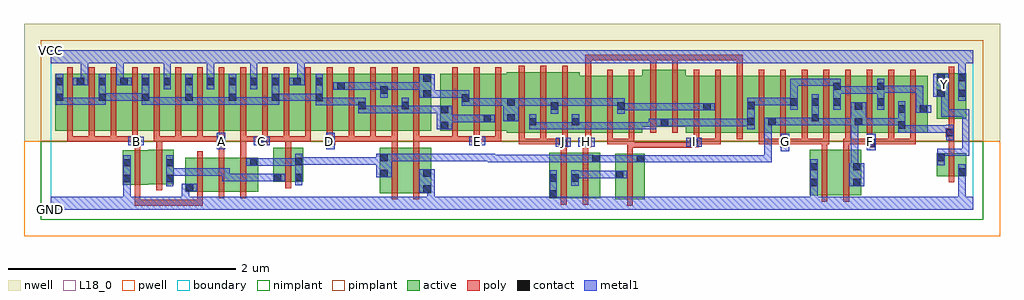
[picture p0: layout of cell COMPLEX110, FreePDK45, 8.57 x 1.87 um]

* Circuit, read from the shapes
.subckt COMPLEX110 A B C D E F G GND H I J VCC Y
M1 n1 B GND VSUBS nfet w=0.3u l=0.05u
M2 n2 A n1 VSUBS nfet w=0.3u l=0.05u
M3 n3 B GND VSUBS nfet w=0.3u l=0.05u
M4 n4 A n3 VSUBS nfet w=0.3u l=0.05u
M5 n5 C n4 VSUBS nfet w=0.3u l=0.05u
M6 n5 C n2 VSUBS nfet w=0.3u l=0.05u
M7 n6 D n5 VSUBS nfet w=0.4u l=0.05u
M8 GND E n6 VSUBS nfet w=0.4u l=0.05u
M9 n7 J GND VSUBS nfet w=0.4u l=0.05u
M10 n5 H n7 VSUBS nfet w=0.4u l=0.05u
M11 n5 I n7 VSUBS nfet w=0.4u l=0.05u
M12 n8 G GND VSUBS nfet w=0.4u l=0.05u
M13 n5 F n8 VSUBS nfet w=0.4u l=0.05u
M14 GND n5 Y VSUBS nfet w=0.2u l=0.05u
M15 VCC B n9 n10 pfet w=0.5u l=0.05u m=4
M16 VCC A n9 n10 pfet w=0.5u l=0.05u m=4
M17 VCC C n9 n10 pfet w=0.5u l=0.05u m=4
M18 n11 D n9 n10 pfet w=0.5u l=0.05u m=4
M19 n11 E n9 n10 pfet w=0.5u l=0.05u m=4
M20 n12 J n11 n10 pfet w=0.532u l=0.05u m=3
M21 n13 H n12 n10 pfet w=0.5u l=0.05u
M22 n11 I n13 n10 pfet w=0.5u l=0.05u
M23 n14 I n11 n10 pfet w=0.5u l=0.05u
M24 n12 H n14 n10 pfet w=0.5u l=0.05u
M25 n15 H n12 n10 pfet w=0.5u l=0.05u
M26 n11 I n15 n10 pfet w=0.5u l=0.05u
M27 n16 I n11 n10 pfet w=0.5u l=0.05u
M28 n12 H n16 n10 pfet w=0.5u l=0.05u
M29 n5 G n12 n10 pfet w=0.5u l=0.05u m=4
M30 n5 F n12 n10 pfet w=0.5u l=0.05u m=4
M31 VCC n5 Y n10 pfet w=0.4u l=0.05u
.ends

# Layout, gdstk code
import gdstk
lib = gdstk.Library(unit=1e-6, precision=1e-09)
def R(c, l, rs):  # rectangles x0, y0, x1, y1
    for r in rs: c.add(gdstk.rectangle(r[:2], r[2:], *l))
def A(c, l, x, y, w, h, nx, ny, dx, dy):  # array of equal rectangles
    R(c, l, [(x+i*dx, y+j*dy, x+i*dx+w, y+j*dy+h) for i in range(nx) for j in range(ny)])
active = (1, 0)
pwell = (2, 0)
nwell = (3, 0)
nimplant = (4, 0)
pimplant = (5, 0)
poly = (9, 0)
contact = (10, 0)
metal1 = (11, 0)
L18_0 = (18, 0)
boundary = (235, 0)

complex110 = lib.new_cell('COMPLEX110')
A(complex110, active, 6.295, 0.675, 0.075, 0.395, 4, 1, 0.38, 0)
A(complex110, active, 0.225, 0.695, 0.265, 0.5, 6, 1, 0.19, 0)
A(complex110, active, 0.795, 0.807, 0.075, 0.36, 4, 1, 0.19, 0)
R(complex110, active, [(4.957,0.092,5.217,0.492), (4.375,0.1,4.45,0.5), (4.375,0.1,4.64,0.5), (4.565,0.1,4.825,0.5), (6.665,0.125,6.89,0.525), (6.665,0.125,6.74,0.525), (6.89,0.125,7.115,0.525), (2.89,0.145,3.115,0.545), (3.115,0.145,3.34,0.545), (3.265,0.145,3.34,0.545), (2.89,0.147,2.995,0.545), (4.565,0.147,4.64,0.492), (4.75,0.147,4.825,0.5), (4.957,0.147,5.032,0.492), (5.142,0.147,5.217,0.492), (7.04,0.147,7.115,0.525), (1.18,0.157,1.255,0.457), (1.18,0.157,1.405,0.457), (1.405,0.157,1.595,0.457), (1.595,0.157,1.82,0.457), (0.632,0.22,0.707,0.52), (0.632,0.22,0.857,0.52), (0.857,0.225,1.082,0.525), (1.007,0.225,1.082,0.525), (1.955,0.245,2.03,0.545), (1.955,0.245,2.215,0.545), (2.14,0.245,2.215,0.545), (1.745,0.247,1.82,0.457), (7.78,0.295,8.04,0.495), (7.965,0.295,8.04,0.495), (7.78,0.347,7.855,0.495), (4.005,0.675,4.27,1.207), (4.195,0.675,4.46,1.207), (4.385,0.675,4.645,1.207), (4.57,0.675,4.645,1.07), (4.57,0.675,4.815,1.175), (4.815,0.675,5.045,1.175), (4.97,0.675,5.195,1.175), (5.575,0.675,5.8,1.175), (5.725,0.675,5.8,1.157), (5.725,0.675,5.955,1.175), (5.955,0.675,6.185,1.175), (6.11,0.675,6.37,1.175), (6.295,0.675,6.565,1.175), (6.49,0.675,6.565,1.157), (6.49,0.675,6.75,1.175), (6.675,0.675,6.94,1.175), (6.865,0.675,6.94,1.157), (6.865,0.675,7.13,1.175), (7.055,0.675,7.325,1.175), (7.25,0.675,7.325,1.157), (7.25,0.675,7.51,1.175), (7.435,0.675,7.7,1.175), (7.625,0.675,7.7,1.157), (4.97,0.682,5.045,1.157), (0.04,0.695,0.3,1.195), (0.04,0.695,0.115,1.165), (1.365,0.695,1.635,1.195), (1.56,0.695,1.82,1.195), (1.745,0.695,2.01,1.195), (1.935,0.695,2.2,1.195), (2.125,0.695,2.395,1.195), (2.32,0.695,2.585,1.195), (2.51,0.695,2.77,1.195), (2.695,0.695,2.965,1.195), (2.89,0.695,3.15,1.195), (3.075,0.695,3.34,1.195), (3.265,0.695,3.34,1.195), (3.42,0.695,3.68,1.195), (3.42,0.695,3.495,1.07), (3.605,0.695,3.87,1.195), (3.795,0.695,4.08,1.195), (1.745,0.722,1.82,1.165), (5.195,0.73,5.425,1.23), (5.35,0.73,5.575,1.23), (5.35,0.73,5.425,1.07), (4.195,0.735,4.27,1.07), (6.11,0.737,6.185,1.157), (0.605,0.747,0.68,1.167), (3.795,0.762,3.87,1.07), (4.005,0.77,4.08,1.157), (4.385,0.775,4.46,1.2), (7.78,0.8,7.855,1.2), (7.78,0.8,8.04,1.2), (7.965,0.8,8.04,1.2), (0.225,0.807,0.3,1.165), (0.415,0.807,0.49,1.165), (1.56,0.807,1.635,1.167), (1.935,0.807,2.01,1.165), (2.125,0.807,2.2,1.162), (2.32,0.807,2.395,1.162), (2.51,0.807,2.585,1.157), (2.695,0.807,2.77,1.07), (2.89,0.807,2.965,1.157), (3.075,0.807,3.15,1.07), (3.605,0.807,3.68,1.157)])
R(complex110, pwell, [(-0.235,-0.235,8.335,0.602)])
R(complex110, nwell, [(-0.235,0.602,8.335,1.635)])
R(complex110, nimplant, [(-0.09,-0.09,8.19,0.602)])
R(complex110, pimplant, [(-0.09,0.602,8.19,1.49)])
A(complex110, poly, 1.285, 0.102, 0.05, 0.41, 3, 1, 0.19, 0)
A(complex110, poly, 4.11, 0.575, 0.05, 0.095, 3, 1, 0.19, 0)
A(complex110, poly, 4.695, 0.575, 0.05, 0.095, 3, 1, 0.19, 0)
A(complex110, poly, 6.215, 0.575, 0.05, 0.095, 8, 1, 0.19, 0)
A(complex110, poly, 0.145, 0.595, 0.05, 0.095, 17, 1, 0.19, 0)
A(complex110, poly, 0.335, 0.595, 0.24, 0.05, 4, 1, 0.76, 0)
A(complex110, poly, 3.525, 0.595, 0.05, 0.095, 3, 1, 0.19, 0)
A(complex110, poly, 4.11, 0.62, 0.05, 0.642, 3, 1, 0.19, 0)
A(complex110, poly, 4.695, 0.62, 0.05, 0.61, 3, 1, 0.19, 0)
A(complex110, poly, 5.645, 0.62, 0.05, 0.61, 11, 1, 0.19, 0)
A(complex110, poly, 0.145, 0.64, 0.05, 0.61, 17, 1, 0.19, 0)
A(complex110, poly, 3.525, 0.64, 0.05, 0.61, 3, 1, 0.19, 0)
R(complex110, poly, [(0.737,0.037,0.787,0.087), (0.737,0.037,0.787,0.087), (0.737,0.037,0.787,0.087), (0.737,0.037,0.92,0.087), (0.737,0.037,0.787,0.215), (0.87,0.037,0.92,0.087), (0.87,0.037,0.92,0.087), (0.87,0.037,0.92,0.087), (0.87,0.037,1.202,0.087), (1.152,0.037,1.202,0.087), (1.152,0.037,1.202,0.087), (1.152,0.037,1.202,0.087), (1.152,0.037,1.335,0.087), (1.285,0.037,1.335,0.087), (1.285,0.037,1.335,0.152), (5.062,0.037,5.112,0.547), (4.48,0.045,4.53,0.555), (4.67,0.045,4.72,0.555), (6.77,0.07,6.82,0.58), (6.96,0.07,7.01,0.58), (2.995,0.09,3.045,0.6), (3.185,0.09,3.235,0.6), (0.737,0.165,0.787,0.575), (0.927,0.17,0.977,0.58), (2.06,0.19,2.11,0.6), (7.885,0.24,7.935,0.55), (1.475,0.462,1.525,0.62), (1.665,0.462,1.715,0.645), (5.062,0.497,5.112,0.592), (7.885,0.5,7.935,0.69), (4.48,0.505,4.53,0.6), (4.67,0.505,4.72,0.6), (0.737,0.525,0.787,0.62), (0.927,0.53,0.977,0.645), (6.77,0.53,6.82,0.625), (6.96,0.53,7.01,0.625), (5.062,0.542,5.125,0.625), (5.075,0.542,5.317,0.592), (5.267,0.542,5.317,0.592), (5.267,0.542,5.317,0.592), (5.267,0.542,5.317,0.592), (5.267,0.542,5.45,0.592), (5.4,0.542,5.45,0.592), (5.4,0.542,5.45,0.592), (5.4,0.542,5.45,0.592), (5.4,0.542,5.662,0.592), (5.612,0.542,5.662,0.6), (2.06,0.55,2.11,0.645), (2.995,0.55,3.045,0.645), (3.185,0.55,3.235,0.645), (4.462,0.55,4.54,0.625), (4.67,0.55,4.745,0.625), (5.612,0.55,5.662,0.6), (5.612,0.55,5.695,0.625), (6.405,0.55,6.48,0.625), (7.165,0.55,7.24,0.625), (0.712,0.57,0.787,0.645), (1.452,0.57,1.527,0.645), (1.82,0.57,1.905,0.645), (2.422,0.57,2.497,0.645), (3.695,0.57,3.78,0.645), (4.11,0.575,4.35,0.625), (4.11,0.575,4.16,0.625), (4.11,0.575,4.16,0.625), (4.11,0.575,4.16,0.625), (4.3,0.575,4.35,0.625), (4.3,0.575,4.35,0.625), (4.3,0.575,4.35,0.625), (4.3,0.575,4.512,0.625), (4.885,0.575,4.935,0.625), (4.885,0.575,5.112,0.625), (5.062,0.575,5.112,0.625), (5.062,0.575,5.112,0.625), (5.645,0.575,5.695,0.67), (5.645,0.575,5.885,0.625), (5.835,0.575,5.885,0.67), (5.835,0.575,5.885,0.625), (5.835,0.575,5.885,0.625), (5.835,0.575,5.885,0.625), (6.215,0.575,6.455,0.625), (6.215,0.575,6.265,0.625), (6.405,0.575,6.455,0.625), (6.405,0.575,6.455,0.625), (6.43,0.575,6.645,0.625), (6.595,0.575,6.645,0.625), (6.595,0.575,6.645,0.625), (6.595,0.575,6.645,0.625), (6.595,0.575,6.82,0.625), (6.77,0.575,6.82,0.625), (6.77,0.575,6.82,0.625), (6.77,0.575,6.835,0.625), (6.96,0.575,7.025,0.625), (6.975,0.575,7.215,0.625), (6.975,0.575,7.025,0.625), (6.975,0.575,7.025,0.625), (7.19,0.575,7.24,0.625), (7.19,0.575,7.24,0.625), (7.19,0.575,7.405,0.625), (7.355,0.575,7.595,0.625), (7.355,0.575,7.405,0.625), (7.355,0.575,7.405,0.625), (7.355,0.575,7.405,0.625), (7.545,0.575,7.595,0.625), (0.145,0.595,0.385,0.645), (0.145,0.595,0.195,0.645), (0.145,0.595,0.195,0.645), (0.145,0.595,0.195,0.645), (0.335,0.595,0.385,0.645), (0.335,0.595,0.385,0.645), (0.335,0.595,0.385,0.645), (0.525,0.595,0.575,0.645), (0.525,0.595,0.575,0.645), (0.525,0.595,0.575,0.645), (0.525,0.595,0.762,0.645), (0.905,0.595,0.977,0.645), (0.927,0.595,0.977,0.645), (0.927,0.595,0.977,0.645), (0.927,0.595,1.145,0.645), (1.095,0.595,1.145,0.645), (1.285,0.595,1.335,0.645), (1.285,0.595,1.335,0.645), (1.285,0.595,1.335,0.645), (1.285,0.595,1.502,0.645), (1.452,0.595,1.502,0.645), (1.452,0.595,1.502,0.645), (1.665,0.595,1.715,0.645), (1.665,0.595,1.715,0.645), (1.665,0.595,1.715,0.645), (1.665,0.595,1.87,0.645), (1.855,0.595,1.905,0.645), (1.855,0.595,1.905,0.645), (2.045,0.595,2.11,0.645), (2.06,0.595,2.11,0.645), (2.06,0.595,2.11,0.645), (2.06,0.595,2.285,0.645), (2.235,0.595,2.285,0.645), (2.447,0.595,2.665,0.645), (2.615,0.595,2.665,0.645), (2.615,0.595,2.665,0.645), (2.615,0.595,2.665,0.645), (2.805,0.595,3.045,0.645), (2.805,0.595,2.855,0.645), (2.805,0.595,2.855,0.645), (2.805,0.595,2.855,0.645), (2.995,0.595,3.045,0.645), (2.995,0.595,3.045,0.645), (2.995,0.595,3.045,0.645), (3.185,0.595,3.235,0.645), (3.185,0.595,3.235,0.645), (3.185,0.595,3.235,0.645), (3.185,0.595,3.575,0.645), (3.525,0.595,3.575,0.645), (3.525,0.595,3.575,0.645), (3.525,0.595,3.575,0.645), (3.525,0.595,3.745,0.645), (3.695,0.595,3.745,0.645), (3.695,0.595,3.745,0.645), (3.73,0.595,3.955,0.645), (3.905,0.595,3.955,0.645), (3.905,0.595,3.955,0.645), (3.905,0.595,3.955,0.645), (7.86,0.64,7.935,0.715), (7.885,0.665,7.935,0.795), (5.265,0.675,5.315,1.285), (5.455,0.675,5.505,1.285), (7.885,0.745,7.935,1.255), (4.695,1.18,4.745,1.362), (6.025,1.18,6.075,1.362), (5.265,1.235,5.315,1.362), (5.455,1.235,5.505,1.362), (4.695,1.312,4.745,1.362), (4.695,1.312,4.98,1.362), (4.93,1.312,4.98,1.362), (4.93,1.312,4.98,1.362), (4.93,1.312,4.98,1.362), (4.93,1.312,5.112,1.362), (5.062,1.312,5.112,1.362), (5.062,1.312,5.112,1.362), (5.062,1.312,5.112,1.362), (5.062,1.312,5.315,1.362), (5.265,1.312,5.315,1.362), (5.265,1.312,5.315,1.362), (5.265,1.312,5.315,1.362), (5.265,1.312,5.497,1.362), (5.447,1.312,5.497,1.362), (5.447,1.312,5.497,1.362), (5.447,1.312,5.505,1.362), (5.455,1.312,5.745,1.362), (5.695,1.312,5.745,1.362), (5.695,1.312,5.745,1.362), (5.695,1.312,5.745,1.362), (5.695,1.312,5.877,1.362), (5.827,1.312,5.877,1.362), (5.827,1.312,5.877,1.362), (5.827,1.312,5.877,1.362), (5.827,1.312,6.075,1.362), (6.025,1.312,6.075,1.362), (6.025,1.312,6.075,1.362), (6.025,1.312,6.075,1.362)])
A(complex110, contact, 0.42, 0.955, 0.065, 0.065, 3, 1, 0.38, 0)
A(complex110, contact, 0.23, 1.095, 0.065, 0.065, 7, 1, 0.19, 0)
R(complex110, contact, [(4.38,0.105,4.445,0.17), (3.27,0.15,3.335,0.215), (1.185,0.162,1.25,0.227), (6.67,0.205,6.735,0.27), (7.045,0.205,7.11,0.27), (0.637,0.24,0.702,0.305), (1.012,0.24,1.077,0.305), (4.38,0.245,4.445,0.31), (4.57,0.245,4.635,0.31), (1.96,0.25,2.025,0.315), (2.145,0.25,2.21,0.315), (4.962,0.277,5.027,0.342), (2.895,0.287,2.96,0.352), (3.27,0.29,3.335,0.355), (7.97,0.3,8.035,0.365), (6.67,0.345,6.735,0.41), (7.045,0.345,7.11,0.41), (0.637,0.38,0.702,0.445), (1.012,0.38,1.077,0.445), (1.75,0.387,1.815,0.452), (2.145,0.39,2.21,0.455), (4.755,0.415,4.82,0.48), (5.147,0.415,5.212,0.48), (7.785,0.425,7.85,0.49), (2.895,0.427,2.96,0.492), (4.467,0.555,4.532,0.62), (4.675,0.555,4.74,0.62), (5.617,0.555,5.682,0.62), (6.41,0.555,6.475,0.62), (7.17,0.555,7.235,0.62), (0.717,0.575,0.782,0.64), (1.457,0.575,1.522,0.64), (1.825,0.575,1.89,0.64), (2.427,0.575,2.492,0.64), (3.71,0.575,3.775,0.64), (7.865,0.645,7.93,0.71), (3.425,0.707,3.49,0.772), (7.44,0.712,7.505,0.777), (5.355,0.735,5.42,0.8), (4.2,0.74,4.265,0.805), (4.575,0.74,4.64,0.805), (7.06,0.74,7.125,0.805), (6.115,0.742,6.18,0.807), (6.3,0.742,6.365,0.807), (3.8,0.767,3.865,0.832), (4.01,0.775,4.075,0.84), (6.68,0.775,6.745,0.84), (3.425,0.847,3.49,0.912), (7.44,0.852,7.505,0.917), (7.63,0.852,7.695,0.917), (5.73,0.872,5.795,0.937), (4.39,0.877,4.455,0.942), (4.975,0.877,5.04,0.942), (7.06,0.88,7.125,0.945), (2.7,0.882,2.765,0.947), (3.08,0.882,3.145,0.947), (6.115,0.882,6.18,0.947), (6.87,0.912,6.935,0.977), (7.255,0.912,7.32,0.977), (4.01,0.915,4.075,0.98), (6.495,0.915,6.56,0.98), (6.68,0.915,6.745,0.98), (3.61,0.95,3.675,1.015), (2.325,0.952,2.39,1.017), (0.045,0.955,0.11,1.02), (1.565,0.955,1.63,1.02), (1.94,0.955,2.005,1.02), (3.27,0.985,3.335,1.05), (7.785,0.99,7.85,1.055), (7.97,0.99,8.035,1.055), (2.895,1.02,2.96,1.085), (6.87,1.052,6.935,1.117), (7.255,1.052,7.32,1.117), (2.515,1.055,2.58,1.12), (2.13,1.092,2.195,1.157), (2.325,1.092,2.39,1.157), (0.045,1.095,0.11,1.16), (1.565,1.095,1.63,1.16), (1.75,1.095,1.815,1.16), (1.94,1.095,2.005,1.16), (3.27,1.125,3.335,1.19), (7.785,1.13,7.85,1.195), (7.97,1.13,8.035,1.195)])
A(complex110, metal1, 0.42, 0.92, 0.065, 0.275, 3, 1, 0.38, 0)
A(complex110, metal1, 0.99, 1.06, 0.065, 0.135, 3, 1, 0.38, 0)
A(complex110, metal1, 0.99, 1.13, 0.065, 0.22, 3, 1, 0.38, 0)
R(complex110, metal1, [(0,0,8.1,0.115), (0.637,0.05,0.702,0.27), (1.15,0.05,1.215,0.227), (3.305,0.05,3.37,0.215), (4.38,0.05,4.445,0.135), (6.67,0.05,6.735,0.235), (7.97,0.05,8.035,0.115), (7.97,0.05,8.035,0.115), (7.97,0.05,8.035,0.115), (7.97,0.05,8.035,0.115), (7.97,0.05,8.035,0.33), (4.38,0.07,4.445,0.345), (3.235,0.15,3.37,0.355), (1.15,0.162,1.215,0.227), (1.15,0.162,1.215,0.227), (1.15,0.162,1.285,0.227), (6.67,0.17,6.735,0.445), (0.637,0.205,0.702,0.27), (0.637,0.205,0.702,0.27), (0.637,0.205,0.702,0.48), (1.012,0.205,1.077,0.48), (7.01,0.205,7.145,0.41), (4.57,0.21,4.635,0.345), (2.145,0.215,2.21,0.49), (1.507,0.25,1.71,0.315), (1.507,0.25,1.572,0.365), (1.645,0.25,1.71,0.315), (1.645,0.25,1.847,0.315), (1.782,0.25,1.847,0.315), (1.782,0.25,1.847,0.315), (1.782,0.25,1.847,0.315), (1.782,0.25,1.99,0.315), (1.925,0.25,2.06,0.315), (7.97,0.265,8.035,0.4), (4.57,0.277,4.635,0.342), (4.57,0.277,4.635,0.342), (4.57,0.277,4.785,0.342), (4.72,0.277,4.785,0.342), (4.72,0.277,4.902,0.342), (4.837,0.277,4.902,0.342), (4.837,0.277,4.992,0.342), (4.927,0.277,5.062,0.342), (2.86,0.287,2.995,0.492), (1.012,0.3,1.245,0.365), (1.18,0.3,1.245,0.365), (1.18,0.3,1.245,0.365), (1.18,0.3,1.245,0.365), (1.18,0.3,1.385,0.365), (1.32,0.3,1.385,0.365), (1.32,0.3,1.385,0.365), (1.32,0.3,1.385,0.365), (1.32,0.3,1.572,0.365), (1.507,0.3,1.572,0.365), (1.507,0.3,1.572,0.365), (7.025,0.345,7.09,0.805), (1.715,0.387,1.85,0.452), (1.785,0.387,1.85,0.452), (1.785,0.387,1.85,0.452), (1.785,0.387,2.005,0.452), (1.94,0.387,2.005,0.452), (1.94,0.387,2.005,0.452), (1.94,0.387,2.005,0.452), (1.94,0.387,2.21,0.452), (7.785,0.39,7.85,0.537), (2.145,0.395,2.21,0.46), (2.145,0.395,2.21,0.46), (2.145,0.395,2.382,0.46), (2.317,0.395,2.382,0.46), (2.317,0.395,2.382,0.46), (2.317,0.395,2.382,0.46), (2.317,0.395,2.527,0.46), (2.462,0.395,2.527,0.46), (2.462,0.395,2.527,0.46), (2.462,0.395,2.527,0.46), (2.462,0.395,2.765,0.46), (2.7,0.395,2.765,0.46), (2.7,0.395,2.765,0.46), (2.7,0.395,2.765,0.46), (2.7,0.395,2.925,0.46), (4.7,0.415,4.785,0.48), (4.7,0.415,4.765,0.482), (4.72,0.415,4.855,0.48), (4.79,0.415,4.902,0.48), (4.837,0.415,4.902,0.48), (4.837,0.415,5.04,0.48), (4.975,0.415,5.04,0.48), (4.975,0.415,5.11,0.48), (5.045,0.415,5.11,0.48), (5.045,0.415,5.177,0.48), (5.112,0.415,5.247,0.48), (5.182,0.415,5.247,0.48), (5.182,0.415,5.247,0.48), (5.182,0.415,5.455,0.48), (5.39,0.415,5.455,0.48), (5.39,0.415,5.455,0.48), (5.39,0.415,5.455,0.48), (5.39,0.415,5.592,0.48), (5.527,0.415,5.592,0.48), (5.527,0.415,5.592,0.48), (5.527,0.415,5.592,0.48), (5.527,0.415,5.73,0.48), (5.665,0.415,5.73,0.48), (5.665,0.415,5.73,0.48), (5.665,0.415,5.73,0.48), (5.665,0.415,6.042,0.48), (5.977,0.415,6.042,0.48), (5.977,0.415,6.042,0.48), (5.977,0.415,6.042,0.48), (5.977,0.415,6.192,0.48), (6.127,0.415,6.192,0.48), (6.127,0.415,6.192,0.48), (6.127,0.415,6.192,0.48), (6.127,0.415,6.33,0.48), (6.265,0.415,6.33,0.48), (6.265,0.415,6.33,0.48), (6.265,0.415,6.33,0.48), (6.265,0.415,6.33,0.807), (3.837,0.417,3.902,0.482), (3.837,0.417,3.902,0.482), (3.837,0.417,4.04,0.482), (3.837,0.417,3.902,0.492), (3.975,0.417,4.04,0.482), (3.975,0.417,4.04,0.482), (3.975,0.417,4.04,0.482), (3.975,0.417,4.265,0.482), (4.2,0.417,4.265,0.482), (4.2,0.417,4.265,0.482), (4.2,0.417,4.265,0.482), (4.2,0.417,4.402,0.482), (4.337,0.417,4.402,0.482), (4.337,0.417,4.402,0.482), (4.337,0.417,4.402,0.482), (4.337,0.417,4.647,0.482), (4.582,0.417,4.647,0.482), (4.582,0.417,4.765,0.482), (2.93,0.427,2.995,0.492), (2.93,0.427,2.995,0.492), (2.93,0.427,3.132,0.492), (3.067,0.427,3.132,0.492), (3.067,0.427,3.232,0.492), (3.167,0.427,3.232,0.492), (3.167,0.427,3.455,0.492), (3.39,0.427,3.455,0.492), (3.39,0.427,3.455,0.492), (3.39,0.427,3.455,0.492), (3.39,0.427,3.592,0.492), (3.527,0.427,3.592,0.492), (3.527,0.427,3.692,0.492), (3.627,0.427,3.692,0.492), (3.627,0.427,3.73,0.492), (3.665,0.427,3.73,0.492), (3.665,0.427,3.902,0.492), (7.785,0.472,8.067,0.537), (8.002,0.472,8.067,0.537), (8.002,0.472,8.067,0.537), (8.002,0.472,8.067,0.537), (8.002,0.472,8.067,0.537), (8.002,0.472,8.067,0.537), (8.002,0.472,8.067,0.537), (8.002,0.472,8.067,0.537), (8.002,0.472,8.067,0.882), (6.41,0.515,6.485,0.667), (7.167,0.52,7.245,0.667), (1.457,0.532,1.532,0.677), (2.417,0.532,2.492,0.677), (4.432,0.555,4.567,0.632), (4.632,0.555,4.775,0.632), (5.582,0.555,5.717,0.632), (0.682,0.565,0.817,0.642), (1.782,0.567,1.925,0.642), (3.675,0.567,3.817,0.64), (7.865,0.61,7.93,0.745), (7.44,0.677,7.505,0.952), (7.44,0.677,7.677,0.742), (7.612,0.677,7.677,0.742), (7.612,0.677,7.677,0.742), (7.612,0.677,7.677,0.742), (7.612,0.677,7.897,0.742), (7.832,0.677,7.897,0.742), (7.832,0.677,7.897,0.742), (7.832,0.677,7.897,0.742), (7.832,0.677,7.93,0.742), (4.2,0.705,4.265,0.77), (4.2,0.705,4.265,0.77), (4.2,0.705,4.265,0.84), (4.2,0.705,4.497,0.77), (4.432,0.705,4.497,0.77), (4.432,0.705,4.497,0.77), (4.432,0.705,4.497,0.77), (4.432,0.705,4.64,0.77), (4.575,0.705,4.64,0.77), (4.575,0.705,4.64,0.77), (4.575,0.705,4.64,0.84), (4.575,0.705,4.855,0.77), (4.79,0.705,4.855,0.77), (4.79,0.705,4.902,0.77), (4.837,0.705,4.902,0.77), (4.837,0.705,5.04,0.77), (4.975,0.705,5.04,0.77), (4.975,0.705,5.04,0.77), (4.975,0.705,5.04,0.77), (4.975,0.705,5.177,0.77), (5.112,0.705,5.177,0.77), (5.112,0.705,5.317,0.77), (5.252,0.705,5.317,0.8), (3.39,0.707,3.525,0.912), (6.115,0.707,6.18,0.982), (5.252,0.735,5.385,0.8), (5.32,0.735,5.455,0.8), (5.39,0.735,5.455,0.8), (5.39,0.735,5.455,0.8), (5.39,0.735,5.592,0.8), (5.527,0.735,5.592,0.8), (5.527,0.735,5.592,0.8), (5.527,0.735,5.592,0.8), (5.527,0.735,5.73,0.8), (5.665,0.735,5.73,0.8), (5.665,0.735,5.73,0.8), (5.665,0.735,5.73,0.8), (5.665,0.735,5.867,0.8), (5.802,0.735,5.867,0.8), (5.802,0.735,5.867,0.8), (5.802,0.735,5.867,0.8), (5.802,0.735,6.18,0.8), (6.68,0.74,6.745,1.015), (6.68,0.74,6.937,0.805), (6.872,0.74,6.937,0.805), (6.872,0.74,6.937,0.805), (6.872,0.74,6.937,0.805), (6.872,0.74,7.09,0.805), (7.025,0.74,7.09,0.805), (7.025,0.74,7.09,0.805), (7.025,0.74,7.09,0.805), (7.025,0.74,7.09,0.805), (7.025,0.74,7.16,0.945), (7.095,0.74,7.297,0.805), (7.232,0.74,7.297,0.805), (7.232,0.74,7.297,0.805), (7.232,0.74,7.297,0.805), (7.232,0.74,7.505,0.805), (7.44,0.74,7.505,0.805), (7.44,0.74,7.505,0.805), (6.265,0.742,6.4,0.807), (6.335,0.742,6.475,0.807), (6.41,0.742,6.475,0.807), (6.41,0.742,6.597,0.807), (6.532,0.742,6.597,0.807), (6.532,0.742,6.745,0.807), (6.68,0.742,6.745,0.807), (6.68,0.742,6.745,0.807), (3.46,0.767,3.592,0.832), (3.527,0.767,3.592,0.832), (3.527,0.767,3.662,0.832), (3.597,0.767,3.662,0.832), (3.597,0.767,3.765,0.832), (3.7,0.767,3.765,0.832), (3.7,0.767,3.83,0.832), (3.765,0.767,3.9,0.832), (3.975,0.775,4.11,0.98), (4.045,0.775,4.11,0.84), (4.045,0.775,4.11,0.977), (7.82,0.817,7.885,0.882), (7.82,0.817,7.885,0.882), (7.82,0.817,7.885,0.882), (7.82,0.817,8.067,0.882), (7.82,0.817,7.885,1.055), (8.002,0.817,8.067,0.882), (8.002,0.817,8.067,0.882), (8.002,0.817,8.067,0.882), (4.39,0.842,4.455,0.977), (4.975,0.842,5.04,0.977), (2.7,0.847,2.765,0.912), (2.7,0.847,2.765,0.912), (2.7,0.847,2.765,0.982), (2.7,0.847,2.902,0.912), (2.837,0.847,2.902,0.912), (2.837,0.847,2.902,0.912), (2.837,0.847,2.902,0.912), (2.837,0.847,3.145,0.912), (3.08,0.847,3.145,0.982), (3.08,0.847,3.232,0.912), (3.167,0.847,3.232,0.912), (3.167,0.847,3.455,0.912), (3.39,0.847,3.455,0.912), (3.39,0.847,3.455,0.912), (7.595,0.852,7.66,0.917), (7.595,0.852,7.66,1.09), (7.595,0.852,7.73,0.917), (4.975,0.872,5.11,0.937), (5.045,0.872,5.11,0.937), (5.045,0.872,5.247,0.937), (5.182,0.872,5.247,0.937), (5.182,0.872,5.247,0.937), (5.182,0.872,5.247,0.937), (5.182,0.872,5.455,0.937), (5.39,0.872,5.455,0.937), (5.39,0.872,5.455,0.937), (5.39,0.872,5.455,0.937), (5.39,0.872,5.592,0.937), (5.527,0.872,5.592,0.937), (5.527,0.872,5.592,0.937), (5.527,0.872,5.592,0.937), (5.527,0.872,5.76,0.937), (5.695,0.872,5.83,0.937), (6.87,0.877,6.935,1.152), (7.255,0.877,7.32,1.152), (6.495,0.88,6.56,1.015), (4.045,0.912,4.11,0.977), (4.045,0.912,4.11,0.977), (4.045,0.912,4.247,0.977), (4.182,0.912,4.247,0.977), (4.182,0.912,4.247,0.977), (4.182,0.912,4.247,0.977), (4.182,0.912,4.455,0.977), (4.39,0.912,4.455,0.977), (4.39,0.912,4.455,0.977), (4.39,0.912,4.647,0.977), (4.582,0.912,4.647,0.977), (4.582,0.912,4.647,0.977), (4.582,0.912,4.647,0.977), (4.582,0.912,4.855,0.977), (4.79,0.912,4.855,0.977), (4.79,0.912,4.902,0.977), (4.837,0.912,4.902,0.977), (4.837,0.912,5.04,0.977), (3.61,0.915,3.675,1.05), (3.61,0.915,3.752,0.98), (3.687,0.915,3.752,0.98), (3.687,0.915,3.902,0.98), (3.837,0.915,3.902,0.98), (3.837,0.915,3.902,0.98), (3.837,0.915,3.902,0.98), (3.837,0.915,4.04,0.98), (2.325,0.917,2.39,0.982), (2.325,0.917,2.39,0.982), (2.325,0.917,2.39,1.192), (2.325,0.917,2.615,0.982), (2.55,0.917,2.615,0.982), (2.55,0.917,2.615,0.982), (2.55,0.917,2.615,0.982), (2.55,0.917,2.765,0.982), (6.115,0.917,6.18,0.982), (6.115,0.917,6.18,0.982), (6.115,0.917,6.337,0.982), (6.272,0.917,6.337,0.982), (6.272,0.917,6.337,0.982), (6.272,0.917,6.337,0.982), (6.272,0.917,6.56,0.982), (6.495,0.917,6.56,0.982), (6.495,0.917,6.56,0.982), (0.045,0.92,0.11,0.985), (0.045,0.92,0.11,0.985), (0.045,0.92,0.11,1.195), (0.045,0.92,0.347,0.985), (0.282,0.92,0.347,0.985), (0.282,0.92,0.347,0.985), (0.282,0.92,0.347,0.985), (0.282,0.92,0.485,0.985), (1.565,0.92,1.63,1.195), (1.94,0.92,2.005,1.195), (0.8,0.922,0.865,0.987), (0.8,0.922,0.865,0.987), (0.8,0.922,1.077,0.987), (1.012,0.922,1.077,0.987), (1.012,0.922,1.245,0.987), (1.18,0.922,1.245,0.987), (1.18,0.922,1.245,0.987), (1.18,0.922,1.382,0.987), (1.317,0.922,1.382,0.987), (1.317,0.922,1.382,0.987), (1.317,0.922,1.382,0.987), (1.317,0.922,1.522,0.987), (1.457,0.922,1.522,0.987), (1.457,0.922,1.63,0.987), (1.565,0.922,1.71,0.987), (1.645,0.922,1.71,0.987), (1.645,0.922,1.852,0.987), (1.787,0.922,1.852,0.987), (1.787,0.922,1.852,0.987), (1.787,0.922,1.852,0.987), (1.787,0.922,2.005,0.987), (6.495,0.95,6.56,1.152), (1.94,0.955,2.005,1.02), (1.94,0.955,2.005,1.02), (1.94,0.955,2.142,1.02), (2.077,0.955,2.142,1.02), (2.077,0.955,2.142,1.02), (2.077,0.955,2.142,1.02), (2.077,0.955,2.39,1.02), (7.97,0.955,8.035,1.23), (0.42,0.957,0.485,1.022), (0.42,0.957,0.485,1.022), (0.42,0.957,0.622,1.022), (0.557,0.957,0.622,1.022), (0.557,0.957,0.727,1.022), (0.662,0.957,0.727,1.022), (0.662,0.957,0.865,1.022), (2.895,0.985,2.96,1.12), (3.235,0.985,3.37,1.19), (3.305,0.985,3.37,1.05), (3.305,0.985,3.37,1.05), (3.305,0.985,3.592,1.05), (3.527,0.985,3.592,1.05), (3.527,0.985,3.675,1.05), (7.75,0.99,7.885,1.195), (6.87,1.017,7.092,1.082), (7.027,1.017,7.092,1.082), (7.027,1.017,7.092,1.082), (7.027,1.017,7.092,1.082), (7.027,1.017,7.32,1.082), (7.255,1.017,7.32,1.082), (7.255,1.017,7.32,1.082), (7.255,1.025,7.457,1.09), (7.392,1.025,7.457,1.09), (7.392,1.025,7.457,1.09), (7.392,1.025,7.457,1.09), (7.392,1.025,7.66,1.09), (2.48,1.055,2.615,1.12), (2.55,1.055,2.615,1.12), (2.55,1.055,2.615,1.12), (2.55,1.055,2.752,1.12), (2.687,1.055,2.752,1.12), (2.687,1.055,2.765,1.12), (2.7,1.055,2.765,1.12), (2.7,1.055,2.96,1.12), (2.895,1.055,2.96,1.12), (2.895,1.055,2.96,1.12), (2.895,1.055,3.162,1.12), (3.097,1.055,3.162,1.12), (3.097,1.055,3.162,1.12), (3.097,1.055,3.162,1.12), (3.097,1.055,3.3,1.12), (6.495,1.087,6.56,1.152), (6.495,1.087,6.797,1.152), (6.732,1.087,6.797,1.152), (6.732,1.087,6.797,1.152), (6.732,1.087,6.797,1.152), (6.732,1.087,6.935,1.152), (6.87,1.087,6.935,1.152), (6.87,1.087,6.935,1.152), (2.095,1.092,2.23,1.157), (2.165,1.092,2.23,1.35), (0.195,1.095,0.33,1.16), (0.265,1.095,0.33,1.16), (0.265,1.095,0.33,1.16), (0.265,1.095,0.33,1.35), (0.575,1.095,0.64,1.16), (0.575,1.095,0.64,1.16), (0.575,1.095,0.71,1.16), (0.575,1.095,0.64,1.35), (0.99,1.13,1.055,1.195), (0.99,1.13,1.055,1.195), (1.37,1.13,1.435,1.195), (1.37,1.13,1.435,1.195), (1.75,1.13,1.815,1.195), (1.75,1.13,1.815,1.195), (7.97,1.165,8.035,1.23), (7.97,1.165,8.035,1.23), (7.97,1.165,8.035,1.35), (0,1.285,8.1,1.4), (2.165,1.285,2.23,1.35), (2.165,1.285,2.23,1.35)])
A(complex110, L18_0, 0.99, 1.06, 0.065, 0.135, 3, 1, 0.38, 0)
A(complex110, L18_0, 0.99, 1.13, 0.065, 0.22, 3, 1, 0.38, 0)
R(complex110, L18_0, [(0,0,8.1,0.115), (0.637,0.05,0.702,0.27), (1.15,0.05,1.215,0.227), (3.305,0.05,3.37,0.215), (4.38,0.05,4.445,0.135), (6.67,0.05,6.735,0.235), (7.97,0.05,8.035,0.115), (7.97,0.05,8.035,0.115), (7.97,0.05,8.035,0.115), (7.97,0.05,8.035,0.115), (7.97,0.05,8.035,0.33), (4.38,0.07,4.445,0.345), (3.235,0.15,3.37,0.355), (1.15,0.162,1.285,0.227), (1.15,0.162,1.215,0.227), (1.15,0.162,1.215,0.227), (6.67,0.17,6.735,0.445), (0.637,0.205,0.702,0.27), (0.637,0.205,0.702,0.27), (0.637,0.205,0.702,0.48), (7.97,0.265,8.035,0.4), (7.785,0.39,7.85,0.537), (7.785,0.472,8.067,0.537), (8.002,0.472,8.067,0.537), (8.002,0.472,8.067,0.537), (8.002,0.472,8.067,0.537), (8.002,0.472,8.067,0.537), (8.002,0.472,8.067,0.537), (8.002,0.472,8.067,0.537), (8.002,0.472,8.067,0.537), (8.002,0.472,8.067,0.882), (6.41,0.515,6.485,0.667), (7.167,0.52,7.245,0.667), (1.457,0.532,1.532,0.677), (2.417,0.532,2.492,0.677), (4.432,0.555,4.567,0.632), (4.632,0.555,4.775,0.632), (5.582,0.555,5.717,0.632), (0.682,0.565,0.817,0.642), (0.717,0.567,0.782,0.632), (1.467,0.567,1.532,0.632), (1.782,0.567,1.925,0.642), (1.817,0.567,1.882,0.632), (2.417,0.567,2.482,0.632), (3.675,0.567,3.817,0.64), (3.717,0.567,3.782,0.632), (4.467,0.567,4.532,0.632), (4.667,0.567,4.732,0.632), (5.617,0.567,5.682,0.632), (6.417,0.567,6.482,0.632), (7.167,0.567,7.232,0.632), (7.82,0.817,7.885,0.882), (7.82,0.817,7.885,0.882), (7.82,0.817,7.885,0.882), (7.82,0.817,7.885,1.055), (7.82,0.817,8.067,0.882), (8.002,0.817,8.067,0.882), (8.002,0.817,8.067,0.882), (8.002,0.817,8.067,0.882), (7.97,0.955,8.035,1.23), (7.75,0.99,7.885,1.195), (7.817,1.067,7.882,1.132), (2.095,1.092,2.23,1.157), (2.165,1.092,2.23,1.35), (0.195,1.095,0.33,1.16), (0.265,1.095,0.33,1.16), (0.265,1.095,0.33,1.16), (0.265,1.095,0.33,1.35), (0.575,1.095,0.71,1.16), (0.575,1.095,0.64,1.16), (0.575,1.095,0.64,1.16), (0.575,1.095,0.64,1.35), (0.99,1.13,1.055,1.195), (0.99,1.13,1.055,1.195), (1.37,1.13,1.435,1.195), (1.37,1.13,1.435,1.195), (1.75,1.13,1.815,1.195), (1.75,1.13,1.815,1.195), (7.97,1.165,8.035,1.23), (7.97,1.165,8.035,1.23), (7.97,1.165,8.035,1.35), (0,1.285,8.1,1.4), (2.165,1.285,2.23,1.35), (2.165,1.285,2.23,1.35)])
R(complex110, boundary, [(0,0,8.1,1.4)])
complex110.add(gdstk.Label('A', (1.5,0.6), layer=11, texttype=0))
complex110.add(gdstk.Label('B', (0.75,0.6), layer=11, texttype=0))
complex110.add(gdstk.Label('C', (1.85,0.6), layer=11, texttype=0))
complex110.add(gdstk.Label('D', (2.45,0.6), layer=11, texttype=0))
complex110.add(gdstk.Label('E', (3.75,0.6), layer=11, texttype=0))
complex110.add(gdstk.Label('F', (7.2,0.6), layer=11, texttype=0))
complex110.add(gdstk.Label('G', (6.45,0.6), layer=11, texttype=0))
complex110.add(gdstk.Label('H', (4.7,0.6), layer=11, texttype=0))
complex110.add(gdstk.Label('I', (5.65,0.6), layer=11, texttype=0))
complex110.add(gdstk.Label('J', (4.5,0.6), layer=11, texttype=0))
complex110.add(gdstk.Label('Y', (7.85,1.1), layer=11, texttype=0))
complex110.add(gdstk.Label('VCC', (0,1.4), layer=11, texttype=0))
complex110.add(gdstk.Label('GND', (0,0), layer=11, texttype=0))

lib.write_gds('COMPLEX110.gds')
